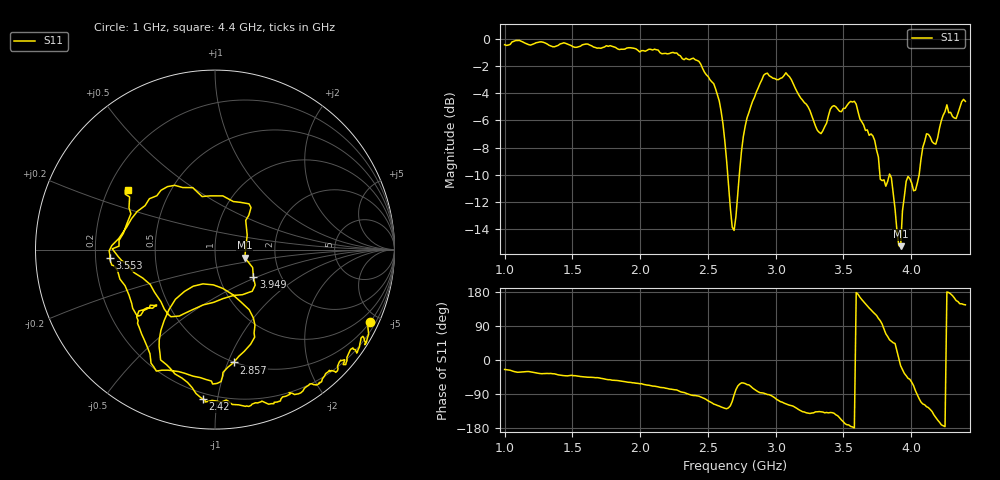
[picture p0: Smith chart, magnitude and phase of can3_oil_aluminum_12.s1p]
# MHz S MA R 50
!  freq  S11
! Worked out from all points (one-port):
!   250 points, 1 GHz to 4.4 GHz, reference 50 ohm
!   lowest |S11| = -15.3 dB at 3.922 GHz (marker M1), VSWR 1.42, Z = 69.6 - j6.46 ohm
!   |S11| at or under -10 dB: 2.646 GHz to 2.732 GHz (85.92 MHz wide, 3.2 % of centre); 3.769 GHz to 3.839 GHz (70.02 MHz wide, 1.84 % of centre); 3.842 GHz to 4.059 GHz (216.6 MHz wide, 5.48 % of centre)
!   S11 on the Smith chart (normalised r, x): 1 GHz: 0.50, -4.48; 2.42 GHz: 0.17, -0.91; 2.857 GHz: 0.50, -1.05; 3.553 GHz: 0.26, -0.04; 3.949 GHz: 1.45, -0.47; 4.4 GHz: 0.28, +0.29
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1000  0.9543 -24.9
1095.582  0.9887 -32.4
1436.948  0.9701 -41.3
1860.241  0.9184 -55.3
2283.534  0.8747 -81.3
2420.08  0.835 -94.6
2583.936  0.5916 -121.7
2679.518  0.2024 -109.3
2706.827  0.2212 -78.4
2775.1  0.4768 -62.1
2857.028  0.6374 -80.6
2938.956  0.7491 -91.0
3130.12  0.6842 -122.0
3253.012  0.5449 -141.1
3334.94  0.4481 -136.6
3430.522  0.5685 -140.5
3553.414  0.5895 -175.2
3730.924  0.4225 122.0
3771.888  0.3042 103.7
3840.161  0.3178 53.4
3922.088  0.1721 -15.2
3949.398  0.2622 -35.3
3976.707  0.3113 -48.2
4031.325  0.2769 -81.0
4126.908  0.4453 -125.6
4181.526  0.4098 -151.6
4263.454  0.5725 179.6
4400  0.5895 145.6
